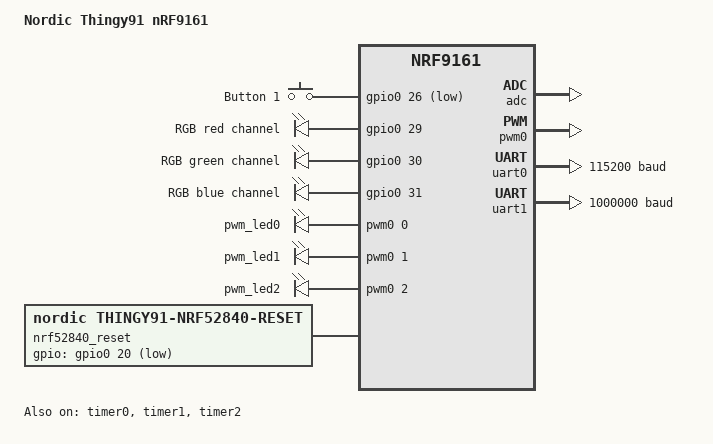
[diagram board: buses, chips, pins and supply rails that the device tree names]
/*
 * Copyright (c) 2019 Nordic Semiconductor ASA
 *
 * SPDX-License-Identifier: LicenseRef-Nordic-5-Clause
 */
#include "thingy91x_nrf9161_common-pinctrl.dtsi"

/ {
	model = "Nordic Thingy91 nRF9161";
	compatible = "nordic,thingy91x-nrf9161";

	chosen {
		zephyr,console = &rtt0;
		zephyr,shell-uart = &rtt0;
		zephyr,uart-mcumgr = &rtt0;
	};

	buttons {
		compatible = "gpio-keys";

		button0: button_0 {
			gpios = <&gpio0 26 (GPIO_PULL_UP | GPIO_ACTIVE_LOW)>;
			label = "Button 1";
		};
	};

	leds {
		compatible = "gpio-leds";
		red_led: led_1 {
			gpios = <&gpio0 29 0>;
			label = "RGB red channel";
		};
		green_led: led_2 {
			gpios = <&gpio0 30 0>;
			label = "RGB green channel";
		};
		blue_led: led_3 {
			gpios = <&gpio0 31 0>;
			label = "RGB blue channel";
		};
	};

	pwmleds {
		compatible = "pwm-leds";
		pwm_led0: pwm_led_0 {
			pwms = <&pwm0 0 PWM_MSEC(8) PWM_POLARITY_NORMAL>;
		};
		pwm_led1: pwm_led_1 {
			pwms = <&pwm0 1 PWM_MSEC(8) PWM_POLARITY_NORMAL>;
		};
		pwm_led2: pwm_led_2 {
			pwms = <&pwm0 2 PWM_MSEC(8) PWM_POLARITY_NORMAL>;
		};
	};

	nrf52840_reset: gpio-reset {
		compatible = "nordic,thingy91-nrf52840-reset";
		status = "okay";
		gpios = <&gpio0 20 GPIO_ACTIVE_LOW>;
	};

	aliases {
		sw0 = &button0;
		led0 = &red_led;
		led1 = &green_led;
		led2 = &blue_led;
		pwm-led0 = &pwm_led0;
		pwm-led1 = &pwm_led1;
		pwm-led2 = &pwm_led2;
		rgb-pwm = &pwm0;
		mcuboot-button0 = &button0;
	};

	rtt0: rtt_chan0 {
		compatible = "segger,rtt-uart";
		status = "okay";
	};
};

&adc {
	status = "okay";
};

&gpiote {
	status = "okay";
};

&gpio0 {
	status = "okay";
};

/* PWM0 is intended for RGB LED control */
&pwm0 {
	status = "okay";
	pinctrl-0 = <&pwm0_default>;
	pinctrl-1 = <&pwm0_sleep>;
	pinctrl-names = "default", "sleep";
};

&i2c2 {
	compatible = "nordic,nrf-twim";
	status = "disabled";
};

&spi3 {
	compatible = "nordic,nrf-spim";
	status = "disabled";
};

&timer0 {
	status = "okay";
};

&timer1 {
	status = "okay";
};

&timer2 {
	status = "okay";
};

&uart0 {
	compatible = "nordic,nrf-uarte";
	current-speed = <115200>;
	status = "okay";
	pinctrl-0 = <&uart0_default>;
	pinctrl-1 = <&uart0_sleep>;
	pinctrl-names = "default", "sleep";
};

&uart1 {
	current-speed = <1000000>;
	status = "okay";
	pinctrl-0 = <&uart1_default>;
	pinctrl-1 = <&uart1_sleep>;
	pinctrl-names = "default", "sleep";
};

/* This is not the layout that's actually used! It's overriden by Partition Manager. */
&flash0 {
	/*
	 * For more information, see:
	 * http://docs.zephyrproject.org/devices/dts/flash_partitions.html
	 */
	partitions {
		compatible = "fixed-partitions";
		#address-cells = <1>;
		#size-cells = <1>;

		boot_partition: partition@0 {
			label = "mcuboot";
			reg = <0x00000000 0x10000>;
		};
		slot0_partition: partition@10000 {
			label = "image-0";
			reg = <0x00010000 0x30000>;
		};
		slot0_ns_partition: partition@40000 {
			label = "image-0-nonsecure";
			reg = <0x00040000 0x40000>;
		};
		slot1_partition: partition@80000 {
			label = "image-1";
			reg = <0x00080000 0x30000>;
		};
		slot1_ns_partition: partition@b0000 {
			label = "image-1-nonsecure";
			reg = <0x000b0000 0x40000>;
		};
		scratch_partition: partition@f0000 {
			label = "image-scratch";
			reg = <0x000f0000 0xa000>;
		};
		storage_partition: partition@fa000 {
			label = "storage";
			reg = <0x000fa000 0x00006000>;
		};
	};
};

/ {

	reserved-memory {
		#address-cells = <1>;
		#size-cells = <1>;
		ranges;

		sram0_s: image_s@20000000 {
			/* Secure image memory */
			reg = <0x20000000 DT_SIZE_K(64)>;
		};

		sram0_bsd: image_bsd@20010000 {
			/* BSD (shared) memory */
			reg = <0x20010000 DT_SIZE_K(64)>;
		};

		sram0_ns: image_ns@20020000 {
			/* Non-Secure image memory */
			reg = <0x20020000 DT_SIZE_K(128)>;
		};
	};
};
